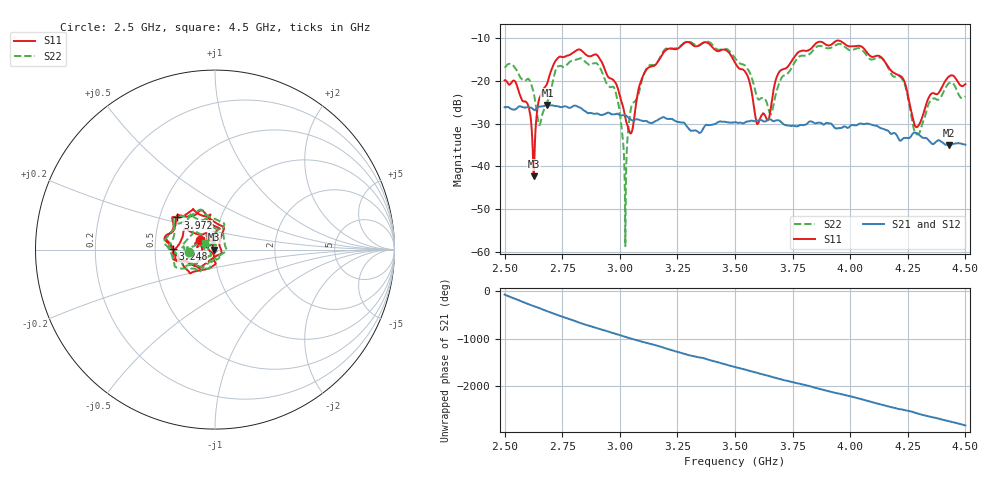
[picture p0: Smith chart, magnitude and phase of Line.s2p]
!Keysight Technologies N9918A: A.08.19
!Date: Monday, 03 March 2025 16:48:17
!Timezone: (GMT-06:00) Guadalajara, Mexico City, Monterrey
!Model: N9918A
!Serial: MY53103234
!GPS Latitude:
!GPS Longitude:
!GPS TimeStamp: 0001-01-01 00:00:00Z
!GPS Seconds Since Last Read: 0
!CHECKSUM:0482189043
!Correction: S11(ON U)S21(ON U)S12(ON U)S22(ON U)
!S2P File: Measurements:S11,S21,S12,S22:
# Hz S DB R 50
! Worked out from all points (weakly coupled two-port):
!   1001 points, 2.5 GHz to 4.5 GHz, reference 50 ohm
!   highest |S21| = -25.65 dB at 2.686 GHz (marker M1); lowest = -35.0 dB at 4.43 GHz (marker M2)
!   lowest |S11| = -42.4 dB at 2.626 GHz (marker M3), VSWR 1.02, Z = 49.2 + j0.0152 ohm
!   |S11| at or under -10 dB: start of sweep to end of sweep
!   |S22| runs from -58.7 to -10.8 dB; largest |S21 - S12| = 0.00085
!   S11 on the Smith chart (normalised r, x): 2.5 GHz: 0.84, +0.09; 3.248 GHz: 0.62, +0.00; 3.972 GHz: 0.62, +0.24; 4.5 GHz: 0.85, +0.09
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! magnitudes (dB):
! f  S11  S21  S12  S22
! 2.5 GHz  -19.9  -26.1  -26.2  -16.9
! 2.598 GHz  -25.2  -26.1  -26.2  -19.6
! 2.626 GHz  -42.4  -26.7  -26.8  -22.8
! 2.652 GHz  -23.9  -26.0  -26.0  -30.4
! 2.686 GHz  -20.4  -25.6  -25.7  -24.8
! 2.834 GHz  -12.9  -26.5  -26.6  -14.7
! 2.978 GHz  -20.2  -27.8  -27.9  -21.9
! 3.022 GHz  -28.1  -28.0  -28.1  -46.0
! 3.054 GHz  -31.5  -29.3  -29.2  -25.4
! 3.096 GHz  -19.4  -29.3  -29.4  -19.8
! 3.168 GHz  -15.2  -29.0  -29.0  -15.2
! 3.248 GHz  -12.5  -29.5  -29.6  -12.3
! 3.5 GHz  -15.7  -29.7  -29.7  -14.6
! 3.6 GHz  -30.0  -29.3  -29.3  -24.2
! 3.656 GHz  -26.1  -29.1  -29.1  -27.8
! 3.692 GHz  -17.9  -29.2  -29.3  -20.5
! 3.834 GHz  -12.2  -29.6  -29.6  -13.2
! 3.972 GHz  -11.2  -30.7  -30.7  -11.9
! 4.168 GHz  -16.9  -31.9  -31.9  -17.3
! 4.29 GHz  -30.8  -32.2  -32.3  -32.5
! 4.43 GHz  -18.9  -35.0  -35.0  -20.5
! 4.5 GHz  -20.7  -34.9  -34.9  -23.6
